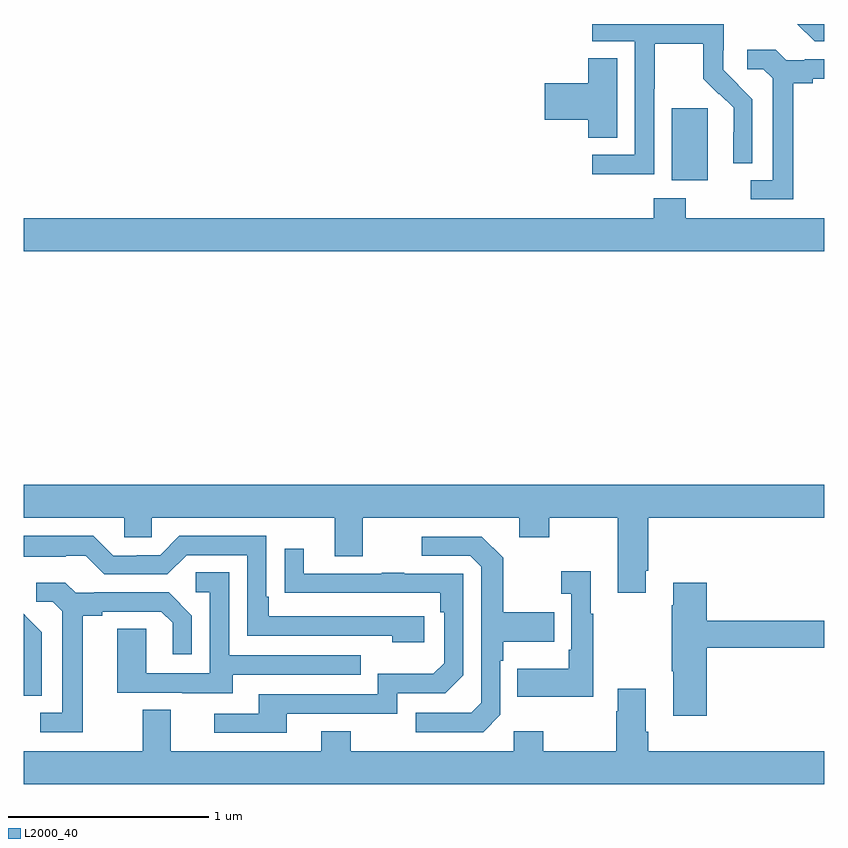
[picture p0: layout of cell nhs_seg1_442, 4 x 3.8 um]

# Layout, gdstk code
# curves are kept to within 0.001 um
import gdstk
lib = gdstk.Library(unit=1e-6, precision=1e-09)
def R(c, l, rs):  # rectangles x0, y0, x1, y1
    for r in rs: c.add(gdstk.rectangle(r[:2], r[2:], *l))
def P(c, l, *ps):  # polygons
    for p in ps: c.add(gdstk.Polygon(p, *l))
L2000_40 = (2000, 40)

nhs_seg1_442 = lib.new_cell('nhs_seg1_442')
R(nhs_seg1_442, L2000_40, [(138.239,553.418,138.418,553.779)])
P(nhs_seg1_442, L2000_40, [(139,554.199),(138.867,554.199),(138.954,554.112),(139,554.112)],
  [(138.15,553.876),(138.153,553.876),(138.153,554.1),(138.397,554.1),(138.397,553.925),(138.474,553.848),(138.477,553.851),(138.548,553.781),(138.548,553.658),(138.546,553.658),(138.546,553.504),(138.642,553.504),(138.642,553.822),(138.496,553.97),(138.496,554.067),(138.498,554.067),(138.498,554.199),(137.841,554.199),(137.841,554.112),(138.054,554.112),(138.054,553.545),(137.841,553.545),(137.841,553.447),(138.15,553.447)],
  [(138.847,553.904),(138.943,553.904),(138.943,553.926),(139,553.926),(139,554.022),(138.904,554.022),(138.904,554.019),(138.81,554.019),(138.758,554.071),(138.615,554.071),(138.615,553.974),(138.696,553.974),(138.743,553.927),(138.743,553.419),(138.633,553.419),(138.633,553.323),(138.847,553.323)],
  [(137.965,554.027),(137.822,554.027),(137.822,553.904),(137.604,553.904),(137.604,553.721),(137.822,553.721),(137.822,553.63),(137.965,553.63)],
  [(139,553.228),(138.309,553.228),(138.309,553.327),(138.149,553.327),(138.149,553.228),(135,553.228),(135,553.064),(139,553.064)],
  [(138.109,551.467),(138.122,551.467),(138.122,551.732),(139,551.732),(139,551.896),(135,551.896),(135,551.732),(135.501,551.732),(135.501,551.634),(135.639,551.634),(135.639,551.732),(136.553,551.732),(136.553,551.538),(136.693,551.538),(136.693,551.732),(137.477,551.732),(137.477,551.633),(137.625,551.633),(137.625,551.732),(137.969,551.732),(137.969,551.355),(138.109,551.355)],
  [(137.002,551.238),(136.225,551.238),(136.225,551.335),(136.212,551.335),(136.212,551.64),(135.777,551.64),(135.681,551.544),(135.563,551.544),(135.563,551.541),(135.447,551.541),(135.347,551.641),(135,551.641),(135,551.537),(135.209,551.537),(135.209,551.541),(135.309,551.541),(135.402,551.448),(135.717,551.448),(135.813,551.544),(136.116,551.544),(136.116,551.142),(136.841,551.142),(136.841,551.108),(137.002,551.108)],
  [(137.382,550.746),(137.382,551.015),(137.395,551.015),(137.395,551.111),(137.651,551.111),(137.651,551.259),(137.395,551.259),(137.395,551.531),(137.289,551.637),(136.989,551.637),(136.989,551.541),(137.232,551.541),(137.286,551.487),(137.286,550.806),(137.235,550.755),(136.959,550.755),(136.959,550.659),(137.295,550.659)],
  [(136.315,550.752),(136.866,550.752),(136.866,550.854),(137.106,550.854),(137.196,550.944),(137.196,551.451),(136.901,551.451),(136.901,551.456),(136.789,551.456),(136.789,551.451),(136.399,551.451),(136.399,551.575),(136.303,551.575),(136.303,551.356),(137.08,551.355),(137.08,551.258),(137.1,551.258),(137.1,551.004),(137.047,550.951),(136.77,550.951),(136.77,550.848),(136.175,550.848),(136.175,550.752),(135.951,550.752),(135.951,550.656),(136.315,550.656)],
  [(137.845,551.251),(137.833,551.251),(137.833,551.464),(137.685,551.464),(137.685,551.351),(137.736,551.351),(137.736,551.071),(137.724,551.071),(137.724,550.975),(137.467,550.975),(137.467,550.835),(137.845,550.835)],
  [(136.045,550.947),(136.685,550.947),(136.685,551.043),(136.026,551.043),(136.026,551.459),(135.858,551.459),(135.858,551.358),(135.93,551.358),(135.93,550.953),(135.612,550.953),(135.612,551.177),(135.467,551.177),(135.467,550.857),(135.791,550.857),(135.791,550.853),(136.045,550.853)],
  [(138.413,551.08),(139,551.08),(139,551.216),(138.413,551.216),(138.413,551.407),(138.245,551.407),(138.245,551.294),(138.238,551.294),(138.238,550.963),(138.245,550.963),(138.245,550.74),(138.413,550.74)],
  [(135.295,551.24),(135.391,551.24),(135.391,551.262),(135.686,551.262),(135.743,551.205),(135.743,551.049),(135.84,551.049),(135.84,551.242),(135.724,551.358),(135.352,551.358),(135.352,551.355),(135.258,551.355),(135.206,551.407),(135.063,551.407),(135.063,551.31),(135.144,551.31),(135.191,551.263),(135.191,550.755),(135.081,550.755),(135.081,550.659),(135.295,550.659)],
  [(135.09,551.158),(135.017,551.231),(135.018,551.232),(135,551.25),(135,550.84),(135.09,550.84)],
  [(139,550.564),(138.122,550.564),(138.122,550.66),(138.109,550.66),(138.109,550.876),(137.969,550.876),(137.969,550.763),(137.962,550.763),(137.962,550.564),(137.595,550.564),(137.595,550.663),(137.448,550.663),(137.448,550.564),(136.635,550.564),(136.635,550.663),(136.487,550.663),(136.487,550.564),(135.733,550.564),(135.733,550.772),(135.593,550.772),(135.593,550.564),(135,550.564),(135,550.4),(139,550.4)])

lib.write_gds('nhs_seg1_442.gds')
